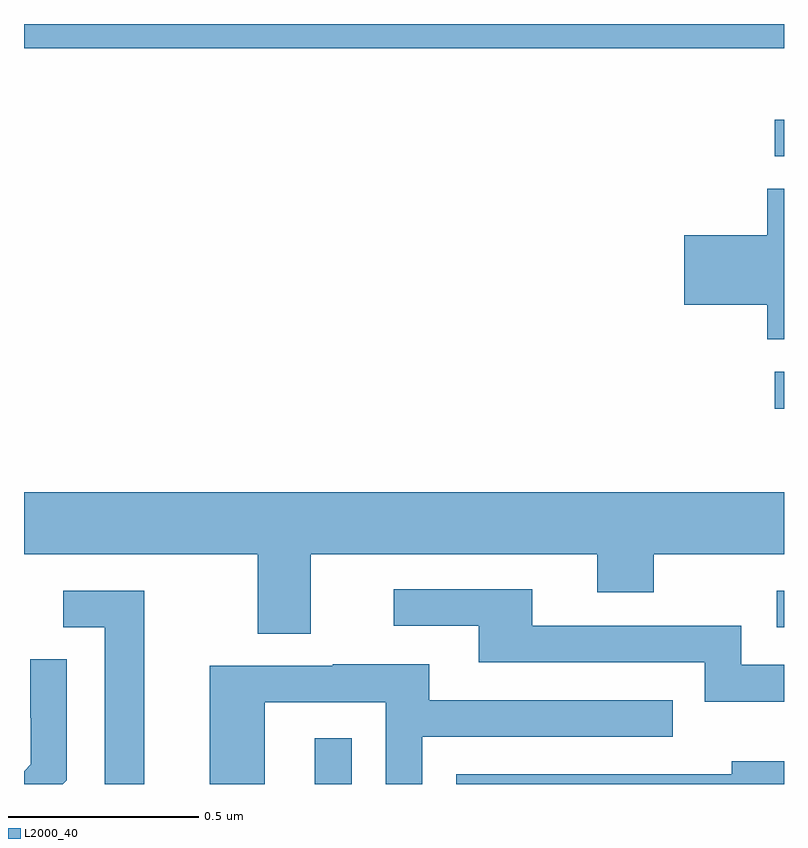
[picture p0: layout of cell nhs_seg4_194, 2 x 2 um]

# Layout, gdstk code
import gdstk
lib = gdstk.Library(unit=1e-6, precision=1e-09)
def R(c, l, rs):  # rectangles x0, y0, x1, y1
    for r in rs: c.add(gdstk.rectangle(r[:2], r[2:], *l))
def P(c, l, *ps):  # polygons
    for p in ps: c.add(gdstk.Polygon(p, *l))
L2000_40 = (2000, 40)

nhs_seg4_194 = lib.new_cell('nhs_seg4_194')
R(nhs_seg4_194, L2000_40, [(113.765,778.9,113.862,779.02), (114.981,779.313,115,779.409), (114.975,779.887,115,779.985), (114.975,780.552,115,780.648), (113,780.836,115,780.9)])
P(nhs_seg4_194, L2000_40, [(115,780.467),(114.956,780.467),(114.956,780.344),(114.738,780.344),(114.738,780.161),(114.956,780.161),(114.956,780.07),(115,780.07)],
  [(113.755,779.504),(114.509,779.504),(114.509,779.405),(114.657,779.405),(114.657,779.504),(115,779.504),(115,779.668),(113,779.668),(113,779.504),(113.615,779.504),(113.615,779.296),(113.755,779.296)],
  [(115,779.214),(114.888,779.214),(114.888,779.316),(114.337,779.316),(114.337,779.412),(113.973,779.412),(113.973,779.316),(114.197,779.316),(114.197,779.22),(114.792,779.22),(114.792,779.117),(115,779.117)],
  [(113.317,779.409),(113.103,779.409),(113.103,779.313),(113.213,779.313),(113.213,778.9),(113.317,778.9)],
  [(113.112,778.91),(113.112,779.228),(113.016,779.228),(113.016,779.074),(113.018,779.074),(113.018,778.952),(113,778.934),(113,778.9),(113.102,778.9)],
  [(113.634,779.115),(113.952,779.115),(113.952,778.9),(114.048,778.9),(114.048,779.025),(114.707,779.025),(114.707,779.121),(114.067,779.121),(114.067,779.215),(113.813,779.215),(113.813,779.211),(113.489,779.211),(113.489,778.9),(113.634,778.9)],
  [(115,778.96),(114.863,778.96),(114.863,778.926),(114.138,778.926),(114.138,778.9),(115,778.9)])

lib.write_gds('nhs_seg4_194.gds')
